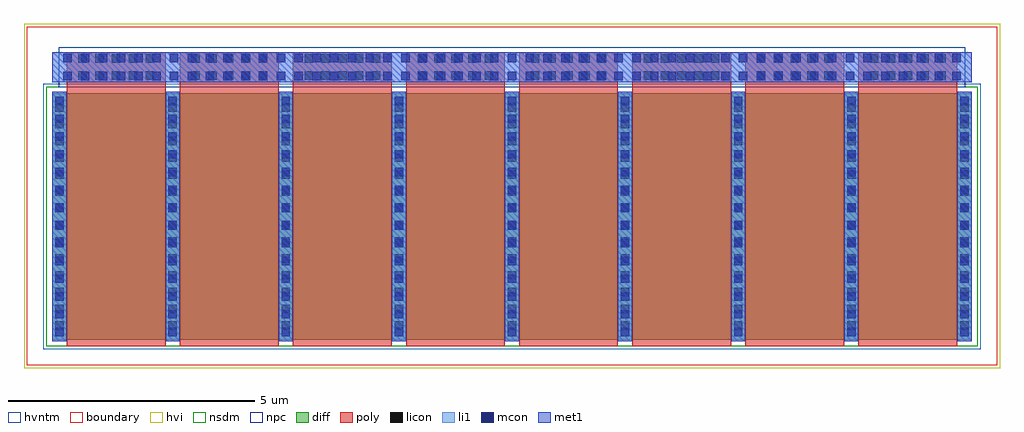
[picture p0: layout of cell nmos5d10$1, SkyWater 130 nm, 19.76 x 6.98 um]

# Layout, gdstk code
import gdstk
lib = gdstk.Library(unit=1e-6, precision=1e-09)
def R(c, l, rs):  # rectangles x0, y0, x1, y1
    for r in rs: c.add(gdstk.rectangle(r[:2], r[2:], *l))
def A(c, l, x, y, w, h, nx, ny, dx, dy):  # array of equal rectangles
    R(c, l, [(x+i*dx, y+j*dy, x+i*dx+w, y+j*dy+h) for i in range(nx) for j in range(ny)])
diff = (65, 20)
poly = (66, 20)
licon = (66, 44)
li1 = (67, 20)
mcon = (67, 44)
met1 = (68, 20)
hvi = (75, 20)
nsdm = (93, 44)
npc = (95, 20)
hvntm = (125, 20)
boundary = (235, 4)

nmos5_w5p0u_l2p0u_nf8_dr = lib.new_cell('nmos5_w5p0u_l2p0u_nf8_drain_area1_gate_connection0alt1')
R(nmos5_w5p0u_l2p0u_nf8_dr, diff, [(0,0,18.61,5)])
A(nmos5_w5p0u_l2p0u_nf8_dr, poly, 0.29, -0.13, 2, 5.26, 8, 1, 2.29, 0)
R(nmos5_w5p0u_l2p0u_nf8_dr, poly, [(0.29,5.13,2.29,5.22), (0.29,5.13,2.29,5.22), (0.29,5.13,2.29,5.22), (0.29,5.13,2.29,5.22), (2.58,5.13,4.58,5.22), (2.58,5.13,4.58,5.22), (2.58,5.13,4.58,5.22), (2.58,5.13,4.58,5.22), (4.87,5.13,6.87,5.22), (4.87,5.13,6.87,5.22), (4.87,5.13,6.87,5.22), (4.87,5.13,6.87,5.22), (7.16,5.13,9.16,5.22), (7.16,5.13,9.16,5.22), (7.16,5.13,9.16,5.22), (7.16,5.13,9.16,5.22), (9.45,5.13,11.45,5.22), (9.45,5.13,11.45,5.22), (9.45,5.13,11.45,5.22), (9.45,5.13,11.45,5.22), (11.74,5.13,13.74,5.22), (11.74,5.13,13.74,5.22), (11.74,5.13,13.74,5.22), (11.74,5.13,13.74,5.22), (14.03,5.13,16.03,5.22), (14.03,5.13,16.03,5.22), (14.03,5.13,16.03,5.22), (14.03,5.13,16.03,5.22), (16.32,5.13,18.32,5.22), (16.32,5.13,18.32,5.22), (16.32,5.13,18.32,5.22), (16.32,5.13,18.32,5.22), (0.29,5.22,2.29,5.83), (0.29,5.22,2.29,5.83), (0.29,5.22,2.29,5.83), (0.29,5.22,2.29,5.83), (2.58,5.22,4.58,5.83), (2.58,5.22,4.58,5.83), (2.58,5.22,4.58,5.83), (2.58,5.22,4.58,5.83), (4.87,5.22,6.87,5.83), (4.87,5.22,6.87,5.83), (4.87,5.22,6.87,5.83), (4.87,5.22,6.87,5.83), (7.16,5.22,9.16,5.83), (7.16,5.22,9.16,5.83), (7.16,5.22,9.16,5.83), (7.16,5.22,9.16,5.83), (9.45,5.22,11.45,5.83), (9.45,5.22,11.45,5.83), (9.45,5.22,11.45,5.83), (9.45,5.22,11.45,5.83), (11.74,5.22,13.74,5.83), (11.74,5.22,13.74,5.83), (11.74,5.22,13.74,5.83), (11.74,5.22,13.74,5.83), (14.03,5.22,16.03,5.83), (14.03,5.22,16.03,5.83), (14.03,5.22,16.03,5.83), (14.03,5.22,16.03,5.83), (16.32,5.22,18.32,5.83), (16.32,5.22,18.32,5.83), (16.32,5.22,18.32,5.83), (16.32,5.22,18.32,5.83)])
A(nmos5_w5p0u_l2p0u_nf8_dr, licon, 0.06, 0.205, 0.17, 0.17, 9, 14, 2.29, 0.34)
R(nmos5_w5p0u_l2p0u_nf8_dr, licon, [(0.525,5.27,0.695,5.44), (0.525,5.27,0.695,5.44), (0.525,5.27,0.695,5.44), (0.525,5.27,0.695,5.44), (0.865,5.27,1.035,5.44), (0.865,5.27,1.035,5.44), (0.865,5.27,1.035,5.44), (0.865,5.27,1.035,5.44), (1.205,5.27,1.375,5.44), (1.205,5.27,1.375,5.44), (1.205,5.27,1.375,5.44), (1.205,5.27,1.375,5.44), (1.545,5.27,1.715,5.44), (1.545,5.27,1.715,5.44), (1.545,5.27,1.715,5.44), (1.545,5.27,1.715,5.44), (1.885,5.27,2.055,5.44), (1.885,5.27,2.055,5.44), (1.885,5.27,2.055,5.44), (1.885,5.27,2.055,5.44), (2.815,5.27,2.985,5.44), (2.815,5.27,2.985,5.44), (2.815,5.27,2.985,5.44), (2.815,5.27,2.985,5.44), (3.155,5.27,3.325,5.44), (3.155,5.27,3.325,5.44), (3.155,5.27,3.325,5.44), (3.155,5.27,3.325,5.44), (3.495,5.27,3.665,5.44), (3.495,5.27,3.665,5.44), (3.495,5.27,3.665,5.44), (3.495,5.27,3.665,5.44), (3.835,5.27,4.005,5.44), (3.835,5.27,4.005,5.44), (3.835,5.27,4.005,5.44), (3.835,5.27,4.005,5.44), (4.175,5.27,4.345,5.44), (4.175,5.27,4.345,5.44), (4.175,5.27,4.345,5.44), (4.175,5.27,4.345,5.44), (5.105,5.27,5.275,5.44), (5.105,5.27,5.275,5.44), (5.105,5.27,5.275,5.44), (5.105,5.27,5.275,5.44), (5.445,5.27,5.615,5.44), (5.445,5.27,5.615,5.44), (5.445,5.27,5.615,5.44), (5.445,5.27,5.615,5.44), (5.785,5.27,5.955,5.44), (5.785,5.27,5.955,5.44), (5.785,5.27,5.955,5.44), (5.785,5.27,5.955,5.44), (6.125,5.27,6.295,5.44), (6.125,5.27,6.295,5.44), (6.125,5.27,6.295,5.44), (6.125,5.27,6.295,5.44), (6.465,5.27,6.635,5.44), (6.465,5.27,6.635,5.44), (6.465,5.27,6.635,5.44), (6.465,5.27,6.635,5.44), (7.395,5.27,7.565,5.44), (7.395,5.27,7.565,5.44), (7.395,5.27,7.565,5.44), (7.395,5.27,7.565,5.44), (7.735,5.27,7.905,5.44), (7.735,5.27,7.905,5.44), (7.735,5.27,7.905,5.44), (7.735,5.27,7.905,5.44), (8.075,5.27,8.245,5.44), (8.075,5.27,8.245,5.44), (8.075,5.27,8.245,5.44), (8.075,5.27,8.245,5.44), (8.415,5.27,8.585,5.44), (8.415,5.27,8.585,5.44), (8.415,5.27,8.585,5.44), (8.415,5.27,8.585,5.44), (8.755,5.27,8.925,5.44), (8.755,5.27,8.925,5.44), (8.755,5.27,8.925,5.44), (8.755,5.27,8.925,5.44), (9.685,5.27,9.855,5.44), (9.685,5.27,9.855,5.44), (9.685,5.27,9.855,5.44), (9.685,5.27,9.855,5.44), (10.025,5.27,10.195,5.44), (10.025,5.27,10.195,5.44), (10.025,5.27,10.195,5.44), (10.025,5.27,10.195,5.44), (10.365,5.27,10.535,5.44), (10.365,5.27,10.535,5.44), (10.365,5.27,10.535,5.44), (10.365,5.27,10.535,5.44), (10.705,5.27,10.875,5.44), (10.705,5.27,10.875,5.44), (10.705,5.27,10.875,5.44), (10.705,5.27,10.875,5.44), (11.045,5.27,11.215,5.44), (11.045,5.27,11.215,5.44), (11.045,5.27,11.215,5.44), (11.045,5.27,11.215,5.44), (11.975,5.27,12.145,5.44), (11.975,5.27,12.145,5.44), (11.975,5.27,12.145,5.44), (11.975,5.27,12.145,5.44), (12.315,5.27,12.485,5.44), (12.315,5.27,12.485,5.44), (12.315,5.27,12.485,5.44), (12.315,5.27,12.485,5.44), (12.655,5.27,12.825,5.44), (12.655,5.27,12.825,5.44), (12.655,5.27,12.825,5.44), (12.655,5.27,12.825,5.44), (12.995,5.27,13.165,5.44), (12.995,5.27,13.165,5.44), (12.995,5.27,13.165,5.44), (12.995,5.27,13.165,5.44), (13.335,5.27,13.505,5.44), (13.335,5.27,13.505,5.44), (13.335,5.27,13.505,5.44), (13.335,5.27,13.505,5.44), (14.265,5.27,14.435,5.44), (14.265,5.27,14.435,5.44), (14.265,5.27,14.435,5.44), (14.265,5.27,14.435,5.44), (14.605,5.27,14.775,5.44), (14.605,5.27,14.775,5.44), (14.605,5.27,14.775,5.44), (14.605,5.27,14.775,5.44), (14.945,5.27,15.115,5.44), (14.945,5.27,15.115,5.44), (14.945,5.27,15.115,5.44), (14.945,5.27,15.115,5.44), (15.285,5.27,15.455,5.44), (15.285,5.27,15.455,5.44), (15.285,5.27,15.455,5.44), (15.285,5.27,15.455,5.44), (15.625,5.27,15.795,5.44), (15.625,5.27,15.795,5.44), (15.625,5.27,15.795,5.44), (15.625,5.27,15.795,5.44), (16.555,5.27,16.725,5.44), (16.555,5.27,16.725,5.44), (16.555,5.27,16.725,5.44), (16.555,5.27,16.725,5.44), (16.895,5.27,17.065,5.44), (16.895,5.27,17.065,5.44), (16.895,5.27,17.065,5.44), (16.895,5.27,17.065,5.44), (17.235,5.27,17.405,5.44), (17.235,5.27,17.405,5.44), (17.235,5.27,17.405,5.44), (17.235,5.27,17.405,5.44), (17.575,5.27,17.745,5.44), (17.575,5.27,17.745,5.44), (17.575,5.27,17.745,5.44), (17.575,5.27,17.745,5.44), (17.915,5.27,18.085,5.44), (17.915,5.27,18.085,5.44), (17.915,5.27,18.085,5.44), (17.915,5.27,18.085,5.44), (0.525,5.61,0.695,5.78), (0.525,5.61,0.695,5.78), (0.525,5.61,0.695,5.78), (0.525,5.61,0.695,5.78), (0.865,5.61,1.035,5.78), (0.865,5.61,1.035,5.78), (0.865,5.61,1.035,5.78), (0.865,5.61,1.035,5.78), (1.205,5.61,1.375,5.78), (1.205,5.61,1.375,5.78), (1.205,5.61,1.375,5.78), (1.205,5.61,1.375,5.78), (1.545,5.61,1.715,5.78), (1.545,5.61,1.715,5.78), (1.545,5.61,1.715,5.78), (1.545,5.61,1.715,5.78), (1.885,5.61,2.055,5.78), (1.885,5.61,2.055,5.78), (1.885,5.61,2.055,5.78), (1.885,5.61,2.055,5.78), (2.815,5.61,2.985,5.78), (2.815,5.61,2.985,5.78), (2.815,5.61,2.985,5.78), (2.815,5.61,2.985,5.78), (3.155,5.61,3.325,5.78), (3.155,5.61,3.325,5.78), (3.155,5.61,3.325,5.78), (3.155,5.61,3.325,5.78), (3.495,5.61,3.665,5.78), (3.495,5.61,3.665,5.78), (3.495,5.61,3.665,5.78), (3.495,5.61,3.665,5.78), (3.835,5.61,4.005,5.78), (3.835,5.61,4.005,5.78), (3.835,5.61,4.005,5.78), (3.835,5.61,4.005,5.78), (4.175,5.61,4.345,5.78), (4.175,5.61,4.345,5.78), (4.175,5.61,4.345,5.78), (4.175,5.61,4.345,5.78), (5.105,5.61,5.275,5.78), (5.105,5.61,5.275,5.78), (5.105,5.61,5.275,5.78), (5.105,5.61,5.275,5.78), (5.445,5.61,5.615,5.78), (5.445,5.61,5.615,5.78), (5.445,5.61,5.615,5.78), (5.445,5.61,5.615,5.78), (5.785,5.61,5.955,5.78), (5.785,5.61,5.955,5.78), (5.785,5.61,5.955,5.78), (5.785,5.61,5.955,5.78), (6.125,5.61,6.295,5.78), (6.125,5.61,6.295,5.78), (6.125,5.61,6.295,5.78), (6.125,5.61,6.295,5.78), (6.465,5.61,6.635,5.78), (6.465,5.61,6.635,5.78), (6.465,5.61,6.635,5.78), (6.465,5.61,6.635,5.78), (7.395,5.61,7.565,5.78), (7.395,5.61,7.565,5.78), (7.395,5.61,7.565,5.78), (7.395,5.61,7.565,5.78), (7.735,5.61,7.905,5.78), (7.735,5.61,7.905,5.78), (7.735,5.61,7.905,5.78), (7.735,5.61,7.905,5.78), (8.075,5.61,8.245,5.78), (8.075,5.61,8.245,5.78), (8.075,5.61,8.245,5.78), (8.075,5.61,8.245,5.78), (8.415,5.61,8.585,5.78), (8.415,5.61,8.585,5.78), (8.415,5.61,8.585,5.78), (8.415,5.61,8.585,5.78), (8.755,5.61,8.925,5.78), (8.755,5.61,8.925,5.78), (8.755,5.61,8.925,5.78), (8.755,5.61,8.925,5.78), (9.685,5.61,9.855,5.78), (9.685,5.61,9.855,5.78), (9.685,5.61,9.855,5.78), (9.685,5.61,9.855,5.78), (10.025,5.61,10.195,5.78), (10.025,5.61,10.195,5.78), (10.025,5.61,10.195,5.78), (10.025,5.61,10.195,5.78), (10.365,5.61,10.535,5.78), (10.365,5.61,10.535,5.78), (10.365,5.61,10.535,5.78), (10.365,5.61,10.535,5.78), (10.705,5.61,10.875,5.78), (10.705,5.61,10.875,5.78), (10.705,5.61,10.875,5.78), (10.705,5.61,10.875,5.78), (11.045,5.61,11.215,5.78), (11.045,5.61,11.215,5.78), (11.045,5.61,11.215,5.78), (11.045,5.61,11.215,5.78), (11.975,5.61,12.145,5.78), (11.975,5.61,12.145,5.78), (11.975,5.61,12.145,5.78), (11.975,5.61,12.145,5.78), (12.315,5.61,12.485,5.78), (12.315,5.61,12.485,5.78), (12.315,5.61,12.485,5.78), (12.315,5.61,12.485,5.78), (12.655,5.61,12.825,5.78), (12.655,5.61,12.825,5.78), (12.655,5.61,12.825,5.78), (12.655,5.61,12.825,5.78), (12.995,5.61,13.165,5.78), (12.995,5.61,13.165,5.78), (12.995,5.61,13.165,5.78), (12.995,5.61,13.165,5.78), (13.335,5.61,13.505,5.78), (13.335,5.61,13.505,5.78), (13.335,5.61,13.505,5.78), (13.335,5.61,13.505,5.78), (14.265,5.61,14.435,5.78), (14.265,5.61,14.435,5.78), (14.265,5.61,14.435,5.78), (14.265,5.61,14.435,5.78), (14.605,5.61,14.775,5.78), (14.605,5.61,14.775,5.78), (14.605,5.61,14.775,5.78), (14.605,5.61,14.775,5.78), (14.945,5.61,15.115,5.78), (14.945,5.61,15.115,5.78), (14.945,5.61,15.115,5.78), (14.945,5.61,15.115,5.78), (15.285,5.61,15.455,5.78), (15.285,5.61,15.455,5.78), (15.285,5.61,15.455,5.78), (15.285,5.61,15.455,5.78), (15.625,5.61,15.795,5.78), (15.625,5.61,15.795,5.78), (15.625,5.61,15.795,5.78), (15.625,5.61,15.795,5.78), (16.555,5.61,16.725,5.78), (16.555,5.61,16.725,5.78), (16.555,5.61,16.725,5.78), (16.555,5.61,16.725,5.78), (16.895,5.61,17.065,5.78), (16.895,5.61,17.065,5.78), (16.895,5.61,17.065,5.78), (16.895,5.61,17.065,5.78), (17.235,5.61,17.405,5.78), (17.235,5.61,17.405,5.78), (17.235,5.61,17.405,5.78), (17.235,5.61,17.405,5.78), (17.575,5.61,17.745,5.78), (17.575,5.61,17.745,5.78), (17.575,5.61,17.745,5.78), (17.575,5.61,17.745,5.78), (17.915,5.61,18.085,5.78), (17.915,5.61,18.085,5.78), (17.915,5.61,18.085,5.78), (17.915,5.61,18.085,5.78)])
R(nmos5_w5p0u_l2p0u_nf8_dr, li1, [(0,5.22,18.61,5.83)])
A(nmos5_w5p0u_l2p0u_nf8_dr, mcon, 0.22, 5.26, 0.17, 0.17, 51, 2, 0.36, 0.36)
R(nmos5_w5p0u_l2p0u_nf8_dr, mcon, [(0.06,0.075,0.23,0.245), (0.06,0.075,0.23,0.245), (2.35,0.075,2.52,0.245), (2.35,0.075,2.52,0.245), (4.64,0.075,4.81,0.245), (4.64,0.075,4.81,0.245), (6.93,0.075,7.1,0.245), (6.93,0.075,7.1,0.245), (9.22,0.075,9.39,0.245), (9.22,0.075,9.39,0.245), (11.51,0.075,11.68,0.245), (11.51,0.075,11.68,0.245), (13.8,0.075,13.97,0.245), (13.8,0.075,13.97,0.245), (16.09,0.075,16.26,0.245), (16.09,0.075,16.26,0.245), (18.38,0.075,18.55,0.245), (18.38,0.075,18.55,0.245), (0.06,0.435,0.23,0.605), (0.06,0.435,0.23,0.605), (2.35,0.435,2.52,0.605), (2.35,0.435,2.52,0.605), (4.64,0.435,4.81,0.605), (4.64,0.435,4.81,0.605), (6.93,0.435,7.1,0.605), (6.93,0.435,7.1,0.605), (9.22,0.435,9.39,0.605), (9.22,0.435,9.39,0.605), (11.51,0.435,11.68,0.605), (11.51,0.435,11.68,0.605), (13.8,0.435,13.97,0.605), (13.8,0.435,13.97,0.605), (16.09,0.435,16.26,0.605), (16.09,0.435,16.26,0.605), (18.38,0.435,18.55,0.605), (18.38,0.435,18.55,0.605), (0.06,0.795,0.23,0.965), (0.06,0.795,0.23,0.965), (2.35,0.795,2.52,0.965), (2.35,0.795,2.52,0.965), (4.64,0.795,4.81,0.965), (4.64,0.795,4.81,0.965), (6.93,0.795,7.1,0.965), (6.93,0.795,7.1,0.965), (9.22,0.795,9.39,0.965), (9.22,0.795,9.39,0.965), (11.51,0.795,11.68,0.965), (11.51,0.795,11.68,0.965), (13.8,0.795,13.97,0.965), (13.8,0.795,13.97,0.965), (16.09,0.795,16.26,0.965), (16.09,0.795,16.26,0.965), (18.38,0.795,18.55,0.965), (18.38,0.795,18.55,0.965), (0.06,1.155,0.23,1.325), (0.06,1.155,0.23,1.325), (2.35,1.155,2.52,1.325), (2.35,1.155,2.52,1.325), (4.64,1.155,4.81,1.325), (4.64,1.155,4.81,1.325), (6.93,1.155,7.1,1.325), (6.93,1.155,7.1,1.325), (9.22,1.155,9.39,1.325), (9.22,1.155,9.39,1.325), (11.51,1.155,11.68,1.325), (11.51,1.155,11.68,1.325), (13.8,1.155,13.97,1.325), (13.8,1.155,13.97,1.325), (16.09,1.155,16.26,1.325), (16.09,1.155,16.26,1.325), (18.38,1.155,18.55,1.325), (18.38,1.155,18.55,1.325), (0.06,1.515,0.23,1.685), (0.06,1.515,0.23,1.685), (2.35,1.515,2.52,1.685), (2.35,1.515,2.52,1.685), (4.64,1.515,4.81,1.685), (4.64,1.515,4.81,1.685), (6.93,1.515,7.1,1.685), (6.93,1.515,7.1,1.685), (9.22,1.515,9.39,1.685), (9.22,1.515,9.39,1.685), (11.51,1.515,11.68,1.685), (11.51,1.515,11.68,1.685), (13.8,1.515,13.97,1.685), (13.8,1.515,13.97,1.685), (16.09,1.515,16.26,1.685), (16.09,1.515,16.26,1.685), (18.38,1.515,18.55,1.685), (18.38,1.515,18.55,1.685), (0.06,1.875,0.23,2.045), (0.06,1.875,0.23,2.045), (2.35,1.875,2.52,2.045), (2.35,1.875,2.52,2.045), (4.64,1.875,4.81,2.045), (4.64,1.875,4.81,2.045), (6.93,1.875,7.1,2.045), (6.93,1.875,7.1,2.045), (9.22,1.875,9.39,2.045), (9.22,1.875,9.39,2.045), (11.51,1.875,11.68,2.045), (11.51,1.875,11.68,2.045), (13.8,1.875,13.97,2.045), (13.8,1.875,13.97,2.045), (16.09,1.875,16.26,2.045), (16.09,1.875,16.26,2.045), (18.38,1.875,18.55,2.045), (18.38,1.875,18.55,2.045), (0.06,2.235,0.23,2.405), (0.06,2.235,0.23,2.405), (2.35,2.235,2.52,2.405), (2.35,2.235,2.52,2.405), (4.64,2.235,4.81,2.405), (4.64,2.235,4.81,2.405), (6.93,2.235,7.1,2.405), (6.93,2.235,7.1,2.405), (9.22,2.235,9.39,2.405), (9.22,2.235,9.39,2.405), (11.51,2.235,11.68,2.405), (11.51,2.235,11.68,2.405), (13.8,2.235,13.97,2.405), (13.8,2.235,13.97,2.405), (16.09,2.235,16.26,2.405), (16.09,2.235,16.26,2.405), (18.38,2.235,18.55,2.405), (18.38,2.235,18.55,2.405), (0.06,2.595,0.23,2.765), (0.06,2.595,0.23,2.765), (2.35,2.595,2.52,2.765), (2.35,2.595,2.52,2.765), (4.64,2.595,4.81,2.765), (4.64,2.595,4.81,2.765), (6.93,2.595,7.1,2.765), (6.93,2.595,7.1,2.765), (9.22,2.595,9.39,2.765), (9.22,2.595,9.39,2.765), (11.51,2.595,11.68,2.765), (11.51,2.595,11.68,2.765), (13.8,2.595,13.97,2.765), (13.8,2.595,13.97,2.765), (16.09,2.595,16.26,2.765), (16.09,2.595,16.26,2.765), (18.38,2.595,18.55,2.765), (18.38,2.595,18.55,2.765), (0.06,2.955,0.23,3.125), (0.06,2.955,0.23,3.125), (2.35,2.955,2.52,3.125), (2.35,2.955,2.52,3.125), (4.64,2.955,4.81,3.125), (4.64,2.955,4.81,3.125), (6.93,2.955,7.1,3.125), (6.93,2.955,7.1,3.125), (9.22,2.955,9.39,3.125), (9.22,2.955,9.39,3.125), (11.51,2.955,11.68,3.125), (11.51,2.955,11.68,3.125), (13.8,2.955,13.97,3.125), (13.8,2.955,13.97,3.125), (16.09,2.955,16.26,3.125), (16.09,2.955,16.26,3.125), (18.38,2.955,18.55,3.125), (18.38,2.955,18.55,3.125), (0.06,3.315,0.23,3.485), (0.06,3.315,0.23,3.485), (2.35,3.315,2.52,3.485), (2.35,3.315,2.52,3.485), (4.64,3.315,4.81,3.485), (4.64,3.315,4.81,3.485), (6.93,3.315,7.1,3.485), (6.93,3.315,7.1,3.485), (9.22,3.315,9.39,3.485), (9.22,3.315,9.39,3.485), (11.51,3.315,11.68,3.485), (11.51,3.315,11.68,3.485), (13.8,3.315,13.97,3.485), (13.8,3.315,13.97,3.485), (16.09,3.315,16.26,3.485), (16.09,3.315,16.26,3.485), (18.38,3.315,18.55,3.485), (18.38,3.315,18.55,3.485), (0.06,3.675,0.23,3.845), (0.06,3.675,0.23,3.845), (2.35,3.675,2.52,3.845), (2.35,3.675,2.52,3.845), (4.64,3.675,4.81,3.845), (4.64,3.675,4.81,3.845), (6.93,3.675,7.1,3.845), (6.93,3.675,7.1,3.845), (9.22,3.675,9.39,3.845), (9.22,3.675,9.39,3.845), (11.51,3.675,11.68,3.845), (11.51,3.675,11.68,3.845), (13.8,3.675,13.97,3.845), (13.8,3.675,13.97,3.845), (16.09,3.675,16.26,3.845), (16.09,3.675,16.26,3.845), (18.38,3.675,18.55,3.845), (18.38,3.675,18.55,3.845), (0.06,4.035,0.23,4.205), (0.06,4.035,0.23,4.205), (2.35,4.035,2.52,4.205), (2.35,4.035,2.52,4.205), (4.64,4.035,4.81,4.205), (4.64,4.035,4.81,4.205), (6.93,4.035,7.1,4.205), (6.93,4.035,7.1,4.205), (9.22,4.035,9.39,4.205), (9.22,4.035,9.39,4.205), (11.51,4.035,11.68,4.205), (11.51,4.035,11.68,4.205), (13.8,4.035,13.97,4.205), (13.8,4.035,13.97,4.205), (16.09,4.035,16.26,4.205), (16.09,4.035,16.26,4.205), (18.38,4.035,18.55,4.205), (18.38,4.035,18.55,4.205), (0.06,4.395,0.23,4.565), (0.06,4.395,0.23,4.565), (2.35,4.395,2.52,4.565), (2.35,4.395,2.52,4.565), (4.64,4.395,4.81,4.565), (4.64,4.395,4.81,4.565), (6.93,4.395,7.1,4.565), (6.93,4.395,7.1,4.565), (9.22,4.395,9.39,4.565), (9.22,4.395,9.39,4.565), (11.51,4.395,11.68,4.565), (11.51,4.395,11.68,4.565), (13.8,4.395,13.97,4.565), (13.8,4.395,13.97,4.565), (16.09,4.395,16.26,4.565), (16.09,4.395,16.26,4.565), (18.38,4.395,18.55,4.565), (18.38,4.395,18.55,4.565), (0.06,4.755,0.23,4.925), (0.06,4.755,0.23,4.925), (2.35,4.755,2.52,4.925), (2.35,4.755,2.52,4.925), (4.64,4.755,4.81,4.925), (4.64,4.755,4.81,4.925), (6.93,4.755,7.1,4.925), (6.93,4.755,7.1,4.925), (9.22,4.755,9.39,4.925), (9.22,4.755,9.39,4.925), (11.51,4.755,11.68,4.925), (11.51,4.755,11.68,4.925), (13.8,4.755,13.97,4.925), (13.8,4.755,13.97,4.925), (16.09,4.755,16.26,4.925), (16.09,4.755,16.26,4.925), (18.38,4.755,18.55,4.925), (18.38,4.755,18.55,4.925)])
R(nmos5_w5p0u_l2p0u_nf8_dr, met1, [(0,5.22,18.61,5.83)])
R(nmos5_w5p0u_l2p0u_nf8_dr, hvi, [(-0.575,-0.575,19.185,6.405)])
R(nmos5_w5p0u_l2p0u_nf8_dr, nsdm, [(-0.125,-0.125,18.735,5.125)])
R(nmos5_w5p0u_l2p0u_nf8_dr, npc, [(0.13,5.12,2.45,5.93), (0.13,5.12,2.45,5.93), (0.13,5.12,2.45,5.93), (0.13,5.12,2.45,5.93), (2.42,5.12,4.74,5.93), (2.42,5.12,4.74,5.93), (2.42,5.12,4.74,5.93), (2.42,5.12,4.74,5.93), (4.71,5.12,7.03,5.93), (4.71,5.12,7.03,5.93), (4.71,5.12,7.03,5.93), (4.71,5.12,7.03,5.93), (7,5.12,9.32,5.93), (7,5.12,9.32,5.93), (7,5.12,9.32,5.93), (7,5.12,9.32,5.93), (9.29,5.12,11.61,5.93), (9.29,5.12,11.61,5.93), (9.29,5.12,11.61,5.93), (9.29,5.12,11.61,5.93), (11.58,5.12,13.9,5.93), (11.58,5.12,13.9,5.93), (11.58,5.12,13.9,5.93), (11.58,5.12,13.9,5.93), (13.87,5.12,16.19,5.93), (13.87,5.12,16.19,5.93), (13.87,5.12,16.19,5.93), (13.87,5.12,16.19,5.93), (16.16,5.12,18.48,5.93), (16.16,5.12,18.48,5.93), (16.16,5.12,18.48,5.93), (16.16,5.12,18.48,5.93)])
R(nmos5_w5p0u_l2p0u_nf8_dr, hvntm, [(-0.185,-0.185,18.795,5.185)])
R(nmos5_w5p0u_l2p0u_nf8_dr, boundary, [(-0.515,-0.515,19.125,6.345)])
nmos5_w5p0u_l2p0u_nf8_dr.add(gdstk.FlexPath([(0.145,0),(0.145,5)], 0.29, ends="flush", simple_path=True, layer=67, datatype=20))  # li1
nmos5_w5p0u_l2p0u_nf8_dr.add(gdstk.FlexPath([(2.435,0),(2.435,5)], 0.29, ends="flush", simple_path=True, layer=67, datatype=20))  # li1
nmos5_w5p0u_l2p0u_nf8_dr.add(gdstk.FlexPath([(4.725,0),(4.725,5)], 0.29, ends="flush", simple_path=True, layer=67, datatype=20))  # li1
nmos5_w5p0u_l2p0u_nf8_dr.add(gdstk.FlexPath([(7.015,0),(7.015,5)], 0.29, ends="flush", simple_path=True, layer=67, datatype=20))  # li1
nmos5_w5p0u_l2p0u_nf8_dr.add(gdstk.FlexPath([(9.305,0),(9.305,5)], 0.29, ends="flush", simple_path=True, layer=67, datatype=20))  # li1
nmos5_w5p0u_l2p0u_nf8_dr.add(gdstk.FlexPath([(11.595,0),(11.595,5)], 0.29, ends="flush", simple_path=True, layer=67, datatype=20))  # li1
nmos5_w5p0u_l2p0u_nf8_dr.add(gdstk.FlexPath([(13.885,0),(13.885,5)], 0.29, ends="flush", simple_path=True, layer=67, datatype=20))  # li1
nmos5_w5p0u_l2p0u_nf8_dr.add(gdstk.FlexPath([(16.175,0),(16.175,5)], 0.29, ends="flush", simple_path=True, layer=67, datatype=20))  # li1
nmos5_w5p0u_l2p0u_nf8_dr.add(gdstk.FlexPath([(18.465,0),(18.465,5)], 0.29, ends="flush", simple_path=True, layer=67, datatype=20))  # li1
nmos5_w5p0u_l2p0u_nf8_dr.add(gdstk.FlexPath([(0.145,-0.03),(0.145,5.03)], 0.29, ends="flush", simple_path=True, layer=68, datatype=20))  # met1
nmos5_w5p0u_l2p0u_nf8_dr.add(gdstk.FlexPath([(2.435,-0.03),(2.435,5.03)], 0.29, ends="flush", simple_path=True, layer=68, datatype=20))  # met1
nmos5_w5p0u_l2p0u_nf8_dr.add(gdstk.FlexPath([(4.725,-0.03),(4.725,5.03)], 0.29, ends="flush", simple_path=True, layer=68, datatype=20))  # met1
nmos5_w5p0u_l2p0u_nf8_dr.add(gdstk.FlexPath([(7.015,-0.03),(7.015,5.03)], 0.29, ends="flush", simple_path=True, layer=68, datatype=20))  # met1
nmos5_w5p0u_l2p0u_nf8_dr.add(gdstk.FlexPath([(9.305,-0.03),(9.305,5.03)], 0.29, ends="flush", simple_path=True, layer=68, datatype=20))  # met1
nmos5_w5p0u_l2p0u_nf8_dr.add(gdstk.FlexPath([(11.595,-0.03),(11.595,5.03)], 0.29, ends="flush", simple_path=True, layer=68, datatype=20))  # met1
nmos5_w5p0u_l2p0u_nf8_dr.add(gdstk.FlexPath([(13.885,-0.03),(13.885,5.03)], 0.29, ends="flush", simple_path=True, layer=68, datatype=20))  # met1
nmos5_w5p0u_l2p0u_nf8_dr.add(gdstk.FlexPath([(16.175,-0.03),(16.175,5.03)], 0.29, ends="flush", simple_path=True, layer=68, datatype=20))  # met1
nmos5_w5p0u_l2p0u_nf8_dr.add(gdstk.FlexPath([(18.465,-0.03),(18.465,5.03)], 0.29, ends="flush", simple_path=True, layer=68, datatype=20))  # met1

nmos5d10_1 = lib.new_cell('nmos5d10$1')
r = gdstk.Reference(nmos5_w5p0u_l2p0u_nf8_dr, (0,0)); r.repetition = gdstk.Repetition(1, 1, v1=(0,0), v2=(0,0)); nmos5d10_1.add(r)

lib.write_gds('nmos5d10_1.gds')
